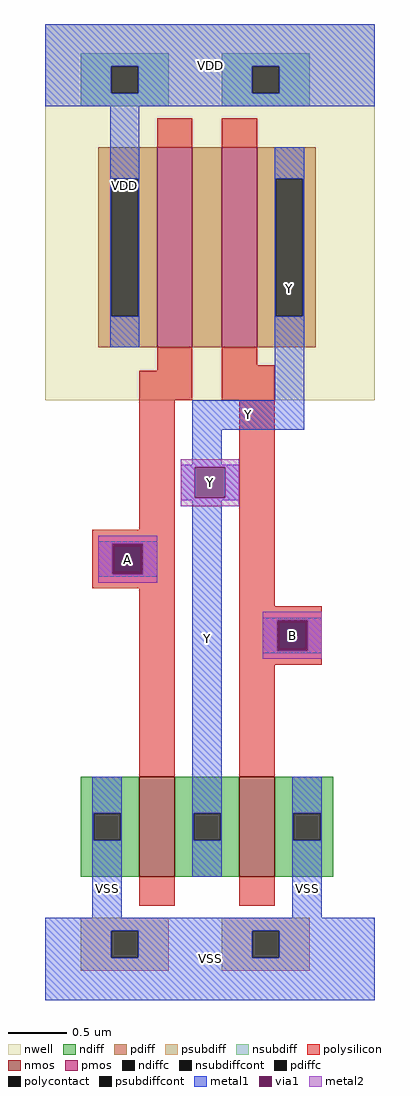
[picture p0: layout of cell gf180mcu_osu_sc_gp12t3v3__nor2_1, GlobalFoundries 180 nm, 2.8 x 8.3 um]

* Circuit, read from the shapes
.subckt gf180mcu_osu_sc_gp12t3v3__nor2_1 A B Y VDD VSS
XM1 Y A VSS VSS nfet_03v3 w=0.85u l=0.3u
XM2 VSS B Y VSS nfet_03v3 w=0.85u l=0.3u
XM3 n1 A VDD VDD pfet_03v3 w=1.7u l=0.3u
XM4 Y B n1 VDD pfet_03v3 w=1.7u l=0.3u
.ends

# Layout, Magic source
magic
tech gf180mcuA
magscale 1 10
<< nwell >>
rect 0 1020 560 1660
<< nmos >>
rect 160 210 220 380
rect 330 210 390 380
<< pmos >>
rect 190 1110 250 1450
rect 300 1110 360 1450
<< ndiff >>
rect 60 318 160 380
rect 60 272 82 318
rect 128 272 160 318
rect 60 210 160 272
rect 220 318 330 380
rect 220 272 252 318
rect 298 272 330 318
rect 220 210 330 272
rect 390 318 490 380
rect 390 272 422 318
rect 468 272 490 318
rect 390 210 490 272
<< pdiff >>
rect 90 1397 190 1450
rect 90 1163 112 1397
rect 158 1163 190 1397
rect 90 1110 190 1163
rect 250 1110 300 1450
rect 360 1397 460 1450
rect 360 1163 392 1397
rect 438 1163 460 1397
rect 360 1110 460 1163
<< ndiffc >>
rect 82 272 128 318
rect 252 272 298 318
rect 422 272 468 318
<< pdiffc >>
rect 112 1163 158 1397
rect 392 1163 438 1397
<< psubdiff >>
rect 60 118 210 140
rect 60 72 112 118
rect 158 72 210 118
rect 60 50 210 72
rect 300 118 450 140
rect 300 72 352 118
rect 398 72 450 118
rect 300 50 450 72
<< nsubdiff >>
rect 60 1588 210 1610
rect 60 1542 112 1588
rect 158 1542 210 1588
rect 60 1520 210 1542
rect 300 1588 450 1610
rect 300 1542 352 1588
rect 398 1542 450 1588
rect 300 1520 450 1542
<< psubdiffcont >>
rect 112 72 158 118
rect 352 72 398 118
<< nsubdiffcont >>
rect 112 1542 158 1588
rect 352 1542 398 1588
<< polysilicon >>
rect 190 1450 250 1500
rect 300 1450 360 1500
rect 190 1070 250 1110
rect 160 1020 250 1070
rect 300 1080 360 1110
rect 300 1020 390 1080
rect 160 800 220 1020
rect 80 773 220 800
rect 80 727 117 773
rect 163 727 220 773
rect 80 700 220 727
rect 160 380 220 700
rect 330 670 390 1020
rect 330 643 470 670
rect 330 597 397 643
rect 443 597 470 643
rect 330 570 470 597
rect 330 380 390 570
rect 160 160 220 210
rect 330 160 390 210
<< polycontact >>
rect 117 727 163 773
rect 397 597 443 643
<< metal1 >>
rect 0 1588 560 1660
rect 0 1542 112 1588
rect 158 1542 352 1588
rect 398 1542 560 1588
rect 0 1520 560 1542
rect 110 1397 160 1520
rect 110 1163 112 1397
rect 158 1163 160 1397
rect 110 1110 160 1163
rect 390 1397 440 1450
rect 390 1163 392 1397
rect 438 1163 440 1397
rect 390 1020 440 1163
rect 250 970 440 1020
rect 250 910 300 970
rect 230 906 330 910
rect 230 854 254 906
rect 306 854 330 906
rect 230 850 330 854
rect 90 776 190 780
rect 90 724 114 776
rect 166 724 190 776
rect 90 720 190 724
rect 80 318 130 380
rect 80 272 82 318
rect 128 272 130 318
rect 80 140 130 272
rect 250 318 300 850
rect 370 646 470 650
rect 370 594 394 646
rect 446 594 470 646
rect 370 590 470 594
rect 250 272 252 318
rect 298 272 300 318
rect 250 210 300 272
rect 420 318 470 380
rect 420 272 422 318
rect 468 272 470 318
rect 420 140 470 272
rect 0 118 560 140
rect 0 72 112 118
rect 158 72 352 118
rect 398 72 560 118
rect 0 0 560 72
<< via1 >>
rect 254 854 306 906
rect 114 773 166 776
rect 114 727 117 773
rect 117 727 163 773
rect 163 727 166 773
rect 114 724 166 727
rect 394 643 446 646
rect 394 597 397 643
rect 397 597 443 643
rect 443 597 446 643
rect 394 594 446 597
<< metal2 >>
rect 230 906 330 920
rect 230 854 254 906
rect 306 854 330 906
rect 230 840 330 854
rect 90 776 190 790
rect 90 724 114 776
rect 166 724 190 776
rect 90 710 190 724
rect 370 646 470 660
rect 370 594 394 646
rect 446 594 470 646
rect 370 580 470 594
<< labels >>
rlabel via1 s 114 724 166 776 4 A
port 1 nsew signal input
rlabel via1 s 394 594 446 646 4 B
port 2 nsew signal input
rlabel via1 s 254 854 306 906 4 Y
port 3 nsew signal output
rlabel metal1 s 110 1110 160 1660 4 VDD
port 4 nsew power bidirectional abutment
rlabel metal1 s 80 0 130 380 4 VSS
port 5 nsew ground bidirectional abutment
rlabel metal1 s 0 1520 560 1660 1 VDD
port 4 nsew power bidirectional abutment
rlabel metal1 s 420 0 470 380 1 VSS
port 5 nsew ground bidirectional abutment
rlabel metal1 s 0 0 560 140 1 VSS
port 5 nsew ground bidirectional abutment
rlabel metal2 s 90 710 190 790 1 A
port 1 nsew signal input
rlabel metal1 s 90 720 190 780 1 A
port 1 nsew signal input
rlabel metal2 s 370 580 470 660 1 B
port 2 nsew signal input
rlabel metal1 s 370 590 470 650 1 B
port 2 nsew signal input
rlabel metal2 s 230 840 330 920 1 Y
port 3 nsew signal output
rlabel metal1 s 250 210 300 1020 1 Y
port 3 nsew signal output
rlabel metal1 s 230 850 330 910 1 Y
port 3 nsew signal output
rlabel metal1 s 250 970 440 1020 1 Y
port 3 nsew signal output
rlabel metal1 s 390 970 440 1450 1 Y
port 3 nsew signal output
<< properties >>
string FIXED_BBOX 0 0 560 1660
string GDS_END 472674
string GDS_FILE $PDKPATH/libs.ref/gf180mcu_osu_sc_gp12t3v3/gds/gf180mcu_osu_sc_gp12t3v3.gds
string GDS_START 468636
string LEFclass CORE
string LEFsite gf180mcu_osu_sc_gp12t3v3
string LEFsymmetry X Y
<< end >>
